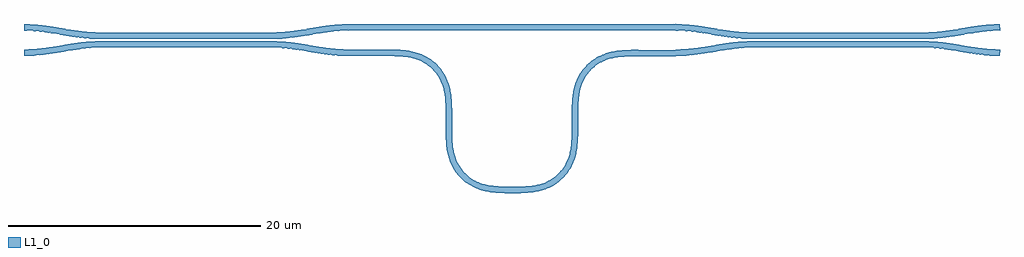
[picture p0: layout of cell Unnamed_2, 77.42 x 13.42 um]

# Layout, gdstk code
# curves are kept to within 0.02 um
from math import pi, radians
import gdstk
lib = gdstk.Library(unit=1e-6, precision=1e-09)
def R(c, l, rs):  # rectangles x0, y0, x1, y1
    for r in rs: c.add(gdstk.rectangle(r[:2], r[2:], *l))
def P(c, l, *ps):  # polygons
    for p in ps: c.add(gdstk.Polygon(p, *l))
L1_0 = (1, 0)

unnamed_0 = lib.new_cell('Unnamed_0')
P(unnamed_0, L1_0, [(-6.947,0.1),(-7.747,0.134),(-8.453,0.205),(-11.495,0.67),(-12.855,0.75),(-12.854,1.25),(-11.531,1.177),(-8.421,0.705),(-7.651,0.628),(-6.943,0.6),(7.12,0.603),(8.421,0.705),(11.531,1.177),(12.854,1.25),(12.855,0.75),(11.495,0.67),(8.667,0.233),(7.471,0.116)])

unnamed_1 = lib.new_cell('Unnamed_1')
P(unnamed_1, L1_0, [(-12.854,-1.25),(-12.855,-0.75),(-11.495,-0.67),(-8.453,-0.205),(-7.039,-0.101),(7.317,-0.109),(8.667,-0.233),(11.495,-0.67),(12.855,-0.75),(12.854,-1.25),(12.762,-1.25),(11.347,-1.156),(8.421,-0.705),(7.12,-0.603),(-7.031,-0.601),(-8.421,-0.705),(-11.531,-1.177)])

straight_l26_n2_csstrip_ = lib.new_cell('straight_L26_N2_CSstrip_WNone')
R(straight_l26_n2_csstrip_, L1_0, [(0,-0.25,26,0.25)])

straight_l3_n2_csxs_261_ = lib.new_cell('straight_L3_N2_CSxs_261_5a9c514e')
R(straight_l3_n2_csxs_261_, L1_0, [(0,-0.25,3,0.25)])

bend_euler_r5_a90_p0p5__ = lib.new_cell('bend_euler_R5_A90_P0p5__bd6e683c')
P(bend_euler_r5_a90_p0p5__, L1_0, [(0,-0.25),(0,0.25),(1.36,0.294),(1.886,0.37),(2.268,0.462),(2.634,0.59),(3.02,0.78),(3.376,1.018),(3.699,1.301),(3.982,1.624),(4.22,1.98),(4.41,2.366),(4.538,2.732),(4.63,3.114),(4.706,3.64),(4.75,5),(5.25,5),(5.203,3.59),(5.121,3.018),(5.018,2.592),(4.872,2.174),(4.653,1.73),(4.379,1.319),(4.053,0.947),(3.681,0.621),(3.27,0.347),(2.826,0.128),(2.408,-0.018),(1.982,-0.121),(1.41,-0.203)])

straight_l0p864_n2_csxs_ = lib.new_cell('straight_L0p864_N2_CSxs_c90c2a6f')
R(straight_l0p864_n2_csxs_, L1_0, [(0,-0.25,0.864,0.25)])

unnamed_5 = lib.new_cell('Unnamed_5')
unnamed_5.add(gdstk.Reference(straight_l3_n2_csxs_261_, (0,0)))
unnamed_5.add(gdstk.Reference(bend_euler_r5_a90_p0p5__, (3,0)))
unnamed_5.add(gdstk.Reference(straight_l0p864_n2_csxs_, (8,5), rotation=pi/2))
unnamed_5.add(gdstk.Reference(bend_euler_r5_a90_p0p5__, (8,5.864), rotation=pi/2, x_reflection=True))
unnamed_5.add(gdstk.Reference(bend_euler_r5_a90_p0p5__, (13,10.864), x_reflection=True))
unnamed_5.add(gdstk.Reference(straight_l0p864_n2_csxs_, (18,5.864), rotation=3*pi/2))
unnamed_5.add(gdstk.Reference(bend_euler_r5_a90_p0p5__, (18,5), rotation=3*pi/2))
unnamed_5.add(gdstk.Reference(straight_l3_n2_csxs_261_, (23,0)))

unnamed_8 = lib.new_cell('Unnamed_8')
unnamed_8.add(gdstk.Reference(unnamed_5, (-13,-5.432)))

unnamed_2 = lib.new_cell('Unnamed_2')
unnamed_2.add(gdstk.Reference(unnamed_0, (-25.854,0)))
unnamed_2.add(gdstk.Reference(unnamed_1, (-25.854,0)))
unnamed_2.add(gdstk.Reference(unnamed_0, (25.854,0)))
unnamed_2.add(gdstk.Reference(unnamed_1, (25.854,0)))
unnamed_2.add(gdstk.Reference(straight_l26_n2_csstrip_, (-13,1), rotation=radians(0.077)))
unnamed_2.add(gdstk.Reference(unnamed_8, (-0.007,-6.449), rotation=radians(359.923), x_reflection=True))

lib.write_gds('Unnamed_2.gds')
